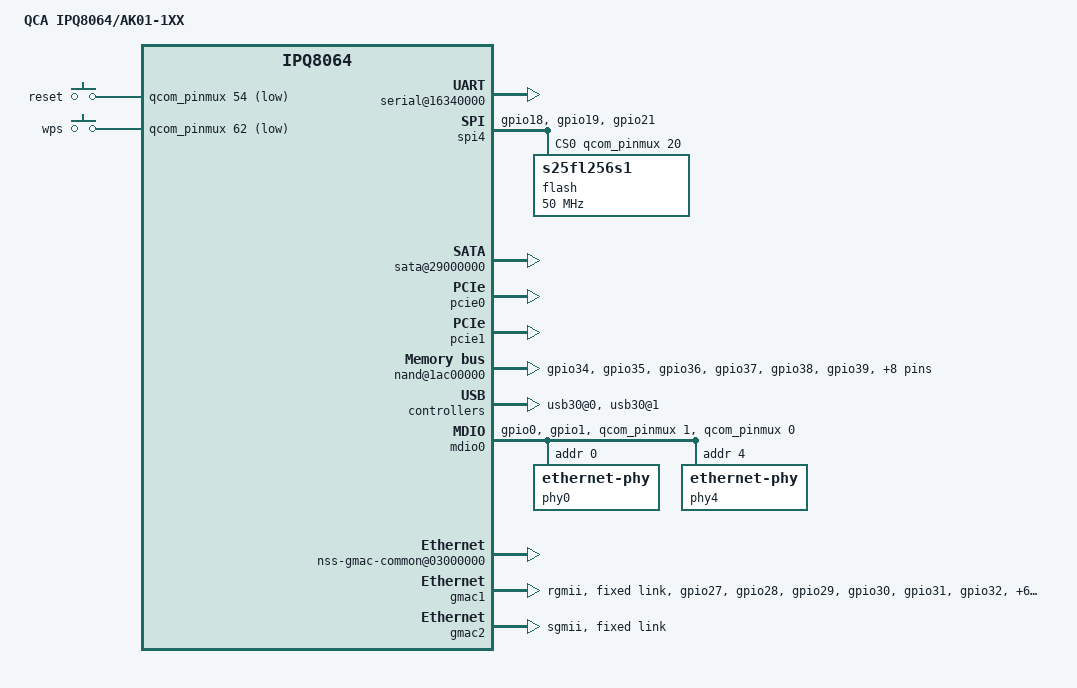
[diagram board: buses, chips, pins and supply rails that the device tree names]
/* Copyright (c) 2015-2017, The Linux Foundation. All rights reserved.
 *
 * Permission to use, copy, modify, and/or distribute this software for any
 * purpose with or without fee is hereby granted, provided that the above
 * copyright notice and this permission notice appear in all copies.
 *
 * THE SOFTWARE IS PROVIDED "AS IS" AND THE AUTHOR DISCLAIMS ALL WARRANTIES
 * WITH REGARD TO THIS SOFTWARE INCLUDING ALL IMPLIED WARRANTIES OF
 * MERCHANTABILITY AND FITNESS. IN NO EVENT SHALL THE AUTHOR BE LIABLE FOR
 * ANY SPECIAL, DIRECT, INDIRECT, OR CONSEQUENTIAL DAMAGES OR ANY DAMAGES
 * WHATSOEVER RESULTING FROM LOSS OF USE, DATA OR PROFITS, WHETHER IN AN
 * ACTION OF CONTRACT, NEGLIGENCE OR OTHER TORTIOUS ACTION, ARISING OUT OF
 * OR IN CONNECTION WITH THE USE OR PERFORMANCE OF THIS SOFTWARE.
 *
 */

#include <dt-bindings/interrupt-controller/arm-gic.h>
#include <dt-bindings/interrupt-controller/irq.h>
#include <dt-bindings/input/input.h>
#include <dt-bindings/gpio/gpio.h>

/ {
	model = "QCA IPQ8064/AK01-1XX";
	compatible = "qcom,ipq8064-ak01", "qcom,ipq8064";

	aliases {
		serial0 = &uart4;
	};

	chosen {
		stdout-path = "serial0:115200n8";
	};

	reserved-memory {
		#address-cells = <1>;
		#size-cells = <1>;
		ranges;
		rsvd@41200000 {
			reg = <0x41200000 0x300000>;
			no-map;
		};
	};

	soc {
		pinmux@800000 {
			nss_spi_pins: nss_spi_pins {
				mux {
					pins = "gpio14", "gpio15", "gpio16",
					       "gpio17", "gpio55", "gpio56",
					       "gpio57", "gpio58";
					function = "nss_spi";
					drive-strengh = <10>;
				};
				data {
					pins = "gpio14", "gpio15", "gpio55",
					       "gpio56";
					bias-none;
				};
				cs {
					pins = "gpio16", "gpio17", "gpio57",
					       "gpio58";
					bias-pull-up;
				};
			};

			spi_pins: spi_pins {
				mux {
					pins = "gpio18", "gpio19", "gpio21";
					function = "gsbi5";
					drive-strength = <10>;
					bias-none;
				};
			};
			nand_pins: nand_pins {
				mux {
					pins = "gpio34", "gpio35", "gpio36",
					       "gpio37", "gpio38", "gpio39",
					       "gpio40", "gpio41", "gpio42",
					       "gpio43", "gpio44", "gpio45",
					       "gpio46", "gpio47";
					function = "nand";
					drive-strength = <10>;
					bias-disable;
				};
				pullups {
					pins = "gpio39";
					bias-pull-up;
				};
				hold {
					pins = "gpio40", "gpio41", "gpio42",
					       "gpio43", "gpio44", "gpio45",
					       "gpio46", "gpio47";
					bias-bus-hold;
				};
			};

			mdio0_pins: mdio0_pins {
				mux {
					pins = "gpio0", "gpio1";
					function = "gpio";
					drive-strength = <8>;
					bias-disable;
				};
			};

			rgmii2_pins: rgmii2_pins {
				mux {
					pins = "gpio27", "gpio28", "gpio29",
						"gpio30", "gpio31", "gpio32",
						"gpio51", "gpio52", "gpio59",
						"gpio60", "gpio61", "gpio62";
					function = "rgmii2";
					drive-strength = <8>;
					bias-disable;
				};
			};

			buttons_pins: buttons_pinmux {
				mux {
					pins = "gpio54", "gpio62";
					drive-strength = <2>;
					bias-pull-up;
				};
			};
		};

		gsbi@16300000 {
			qcom,mode = <GSBI_PROT_I2C_UART>;
			status = "ok";
			serial@16340000 {
				status = "ok";
			};
			/*
			 * The i2c device on gsbi4 should not be enabled.
			 * On ipq806x designs gsbi4 i2c is meant for exclusive
			 * RPM usage. Turning this on in kernel manifests as
			 * i2c failure for the RPM.
			 */
		};

		gsbi5: gsbi@1a200000 {
			qcom,mode = <GSBI_PROT_SPI>;
			status = "ok";

			spi4: spi@1a280000 {
				status = "ok";
				spi-max-frequency = <50000000>;

				pinctrl-0 = <&spi_pins>;
				pinctrl-names = "default";

				cs-gpios = <&qcom_pinmux 20 0>;

				flash: m25p80@0 {
					compatible = "s25fl256s1";
					#address-cells = <1>;
					#size-cells = <1>;
					spi-max-frequency = <50000000>;
					reg = <0>;

					m25p,fast-read;
				};
			};
		};

		sata-phy@1b400000 {
			status = "ok";
		};

		sata@29000000 {
			status = "ok";
		};

		pcie0: pci@1b500000 {
			status = "ok";
		};

		pcie1: pci@1b700000 {
			status = "ok";
		};

		nand@1ac00000 {
			status = "ok";

			pinctrl-0 = <&nand_pins>;
			pinctrl-names = "default";

			nand-ecc-strength = <4>;
			nand-bus-width = <8>;
		};

		phy@100f8800 {
			status = "ok";
		};

		phy@100f8830 {
			status = "ok";
		};

		usb30@0 {
			status = "ok";
		};

		phy@110f8800 {
			status = "ok";
		};

		phy@110f8830 {
			status = "ok";
		};

		usb30@1 {
			status = "ok";
		};

		gpio_keys {
			compatible = "gpio-keys";
			pinctrl-0 = <&buttons_pins>;
			pinctrl-names = "default";
			button@1 {
				label = "reset";
				linux,code = <KEY_RESTART>;
				gpios = <&qcom_pinmux 54 GPIO_ACTIVE_LOW>;
				linux,input-type = <1>;
				debounce-interval = <60>;
			};
			button@2 {
				label = "wps";
				linux,code = <KEY_WPS_BUTTON>;
				gpios = <&qcom_pinmux 62 GPIO_ACTIVE_LOW>;
				linux,input-type = <1>;
				debounce-interval = <60>;
			};
		};

		mdio0: mdio {
			compatible = "virtual,mdio-gpio";
			#address-cells = <1>;
			#size-cells = <0>;
			gpios = <&qcom_pinmux 1 0 &qcom_pinmux 0 0>;
			pinctrl-0 = <&mdio0_pins>;
			pinctrl-names = "default";

			phy0: ethernet-phy@0 {
				device_type = "ethernet-phy";
				reg = <0>;
				qca,ar8327-initvals = <
					0x00004 0x7600000   /* PAD0_MODE */
					0x00008 0x1000000   /* PAD5_MODE */
					0x0000c 0x80        /* PAD6_MODE */
					0x000e4 0xaa545     /* MAC_POWER_SEL */
					0x000e0 0xc74164de  /* SGMII_CTRL */
					0x0007c 0x4e        /* PORT0_STATUS */
					0x00094 0x4e        /* PORT6_STATUS */
					>;
			};

			phy4: ethernet-phy@4 {
				device_type = "ethernet-phy";
				reg = <4>;
			};
		};

		nss0: nss@40000000 {
			compatible = "qcom,nss";
			pinctrl-0 = <&nss_spi_pins>;
			pinctrl-names = "default";
			interrupts = <GIC_SPI 213 IRQ_TYPE_LEVEL_HIGH>,
				     <GIC_SPI 232 IRQ_TYPE_LEVEL_HIGH>;
			reg = <0x36000000 0x1000 0x39000000 0x10000>;
			reg-names = "nphys", "vphys";
			clocks = <&gcc NSS_CORE_CLK>, <&gcc NSSTCM_CLK_SRC>,
				 <&gcc NSSTCM_CLK>, <&nss_fabric0_clk>,
				 <&nss_fabric1_clk>;
			clock-names = "nss-core-clk", "nss-tcm-src",
				      "nss-tcm-clk", "nss-fab0-clk",
				      "nss-fab1-clk";
			resets = <&gcc UBI32_CORE1_CLKRST_CLAMP_RESET>,
				 <&gcc UBI32_CORE1_CLAMP_RESET>,
				 <&gcc UBI32_CORE1_AHB_RESET>,
				 <&gcc UBI32_CORE1_AXI_RESET>;
			reset-names = "clkrst-clamp", "clamp", "ahb", "axi";
			qcom,id = <0>;
			qcom,num-irq = <2>;
			qcom,num-queue = <2>;
			qcom,load-addr = <0x40000000>;
			qcom,turbo-frequency;

			qcom,ipv4-enabled;
			qcom,ipv4-reasm-enabled;
			qcom,ipv6-enabled;
			qcom,ipv6-reasm-enabled;
			qcom,wlanredirect-enabled;
			qcom,tun6rd-enabled;
			qcom,l2tpv2-enabled;
			qcom,gre-enabled;
			qcom,map-t-enabled;
			qcom,tunipip6-enabled;
			qcom,pppoe-enabled;
			qcom,pptp-enabled;
			qcom,shaping-enabled;
			qcom,wlan-dataplane-offload-enabled;
		};

		nss1: nss@40800000 {
			compatible = "qcom,nss";
			interrupts = <GIC_SPI 214 IRQ_TYPE_LEVEL_HIGH>,
				     <GIC_SPI 233 IRQ_TYPE_LEVEL_HIGH>;
			reg = <0x36400000 0x1000 0x39010000 0x10000>;
			reg-names = "nphys", "vphys";
			resets = <&gcc UBI32_CORE2_CLKRST_CLAMP_RESET>,
				 <&gcc UBI32_CORE2_CLAMP_RESET>,
				 <&gcc UBI32_CORE2_AHB_RESET>,
				 <&gcc UBI32_CORE2_AXI_RESET>;
			reset-names = "clkrst-clamp", "clamp", "ahb", "axi";
			qcom,id = <1>;
			qcom,num-irq = <2>;
			qcom,num-queue = <2>;
			qcom,load-addr = <0x40800000>;
			qcom,turbo-frequency;

			qcom,crypto-enabled;
			qcom,ipsec-enabled;
		};

		nss-gmac-common@03000000 {
			compatible = "qcom,nss-gmac-common";
			reg = <0x03000000 0x0000FFFF 0x1bb00000 0x0000FFFF
			       0x00900000 0x00004000>;
			reg-names = "nss_reg_base" , "qsgmii_reg_base",
				    "clk_ctl_base";
		};

		gmac1: ethernet@37200000 {
			status = "ok";
			device_type = "network";
			compatible = "qcom,nss-gmac";
			reg = <0x37200000 0x200000>;
			interrupts = <GIC_SPI 223 IRQ_TYPE_LEVEL_HIGH>;
			phy-mode = "rgmii";
			qcom,id = <1>;
			qcom,pcs-chanid = <0>;
			qcom,phy-mdio-addr = <4>;
			qcom,poll-required = <1>;
			qcom,rgmii-delay = <1>;
			qcom,emulation = <0>;
			qcom,forced-speed = <1000>;
			qcom,forced-duplex = <1>;
			qcom,socver = <0>;
			local-mac-address = [000000000000];
			mdiobus = <&mdio0>;

			pinctrl-0 = <&rgmii2_pins>;
			pinctrl-names = "default";

			fixed-link {
				speed = <1000>;
				full-duplex;
			};
		};

		gmac2: ethernet@37400000 {
			status = "ok";
			device_type = "network";
			compatible = "qcom,nss-gmac";
			reg = <0x37400000 0x200000>;
			interrupts = <GIC_SPI 226 IRQ_TYPE_LEVEL_HIGH>;
			phy-mode = "sgmii";
			qcom,id = <2>;
			qcom,pcs-chanid = <1>;
			qcom,phy-mdio-addr = <0>;
			qcom,poll-required = <0>;
			qcom,rgmii-delay = <0>;
			qcom,forced-speed = <1000>;
			qcom,forced-duplex = <1>;
			qcom,socver = <0>;
			local-mac-address = [000000000000];
			mdiobus = <&mdio0>;

			fixed-link {
				speed = <1000>;
				full-duplex;
			};
		};
	};
};

&adm_dma {
	status = "ok";
};
